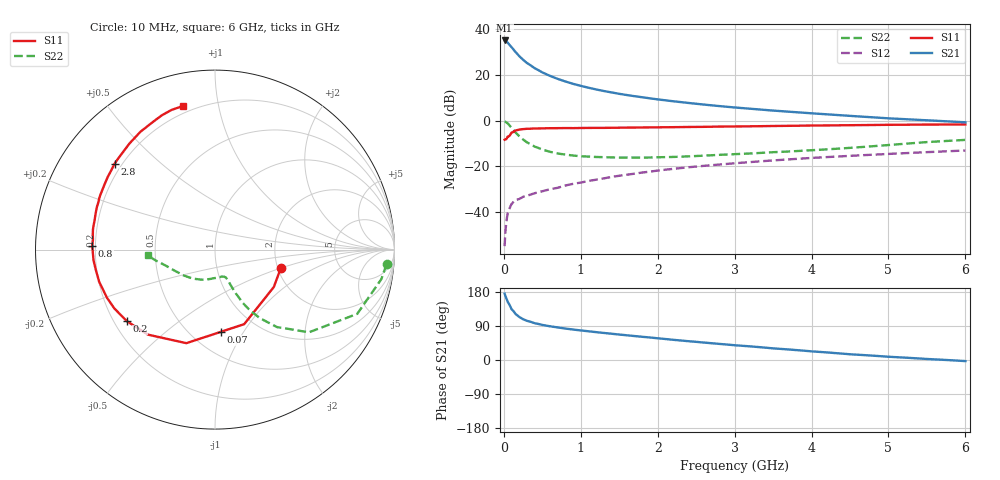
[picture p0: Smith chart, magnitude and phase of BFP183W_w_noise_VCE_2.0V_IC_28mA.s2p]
! Infineon Technologies  Discrete & RF Semiconductors
! BFP183W
! VCE =  2.0 V,  IC =  28 mA
! Common Emitter S-Parameters:  Jan 2017
# GHz  S  MA  R  50
!  f  S11  S21  S12  S22
! GHz  MAG  ANG  MAG  ANG  MAG  ANG  MAG  ANG
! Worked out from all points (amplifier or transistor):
!   77 points, 10 MHz to 6 GHz, reference 50 ohm
!   highest |S21| = 35.0 dB at 10 MHz (marker M1)
!   |S21| within 3 dB of that: start of sweep to 102.2 MHz
!   unconditionally stable (mu >= 1): 853 MHz to 3.689 GHz
!   at 130 MHz: K = 0.32, MSG = 33.1 dB, |S12| = -35.4 dB
!   at 2.2 GHz: K = 1.08, MAG = 13.0 dB, |S12| = -21.1 dB
!   at 6 GHz: K = 0.88, MSG = 6.2 dB, |S12| = -13.1 dB
!   lowest NFmin = 1.35 dB at 450 MHz
!   S11 on the Smith chart (normalised r, x): 10 MHz: 2.08, -0.49; 70 MHz: 0.69, -0.80; 200 MHz: 0.25, -0.33; 800 MHz: 0.19, +0.02; 2.8 GHz: 0.17, +0.36; 6 GHz: 0.16, +0.79
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0.01  0.3809 -15.3  56.04 175.1  0.0018 87.2  0.9592 -4.9
0.02  0.3884 -32.4  55.03 168.9  0.0037 90.4  0.9411 -10.1
0.05  0.4461 -68.6  50.35 153.5  0.0094 69.8  0.8697 -24.3
0.07  0.459 -85.8  45.65 146.8  0.0116 62.7  0.7929 -30.2
0.1  0.5452 -107.0  40.08 134.2  0.015 56.1  0.6977 -41.3
0.15  0.6035 -128.3  31.64 122.0  0.0183 49.9  0.5534 -51.3
0.2  0.6326 -140.9  25.53 113.6  0.0193 46.4  0.4551 -56.9
0.25  0.6496 -149.7  21.23 107.7  0.0215 44.4  0.385 -60.3
0.3  0.659 -156.0  18.07 103.4  0.0227 44.8  0.3343 -62.5
0.4  0.6699 -164.5  13.91 97.1  0.0258 47.9  0.2698 -64.6
0.5  0.6736 -170.4  11.24 92.6  0.0285 49.8  0.2321 -65.7
0.6  0.6794 -174.9  9.44 89.0  0.0315 52.9  0.2071 -66.5
0.7  0.6808 -178.5  8.11 85.9  0.0339 55.1  0.1902 -66.6
0.8  0.6841 178.2  7.122 83.0  0.0381 56.8  0.1802 -67.4
1.1  0.6893 170.6  5.2 75.8  0.0478 59.9  0.163 -70.0
1.5  0.6964 162.1  3.829 67.2  0.0621 61.5  0.1546 -76.1
2.1  0.7121 150.8  2.762 55.4  0.0842 60.7  0.1586 -90.3
2.8  0.7366 139.4  2.067 42.5  0.1092 57.7  0.1779 -109.4
3.1  0.7438 134.8  1.868 37.5  0.1199 55.9  0.1872 -117.4
4.1  0.7787 121.2  1.4 21.4  0.1555 49.8  0.2292 -142.3
5.1  0.8068 110.6  1.094 7.5  0.1896 43.3  0.3001 -164.2
6  0.8196 102.7  0.914 -2.9  0.2214 36.9  0.3772 -175.1
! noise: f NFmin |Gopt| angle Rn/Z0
0.45  1.35  0.26  179  0.09
0.9  1.38  0.29  -179  0.1
1.9  1.87  0.44  -157  0.1
2.4  2.12  0.49  -152  0.14
